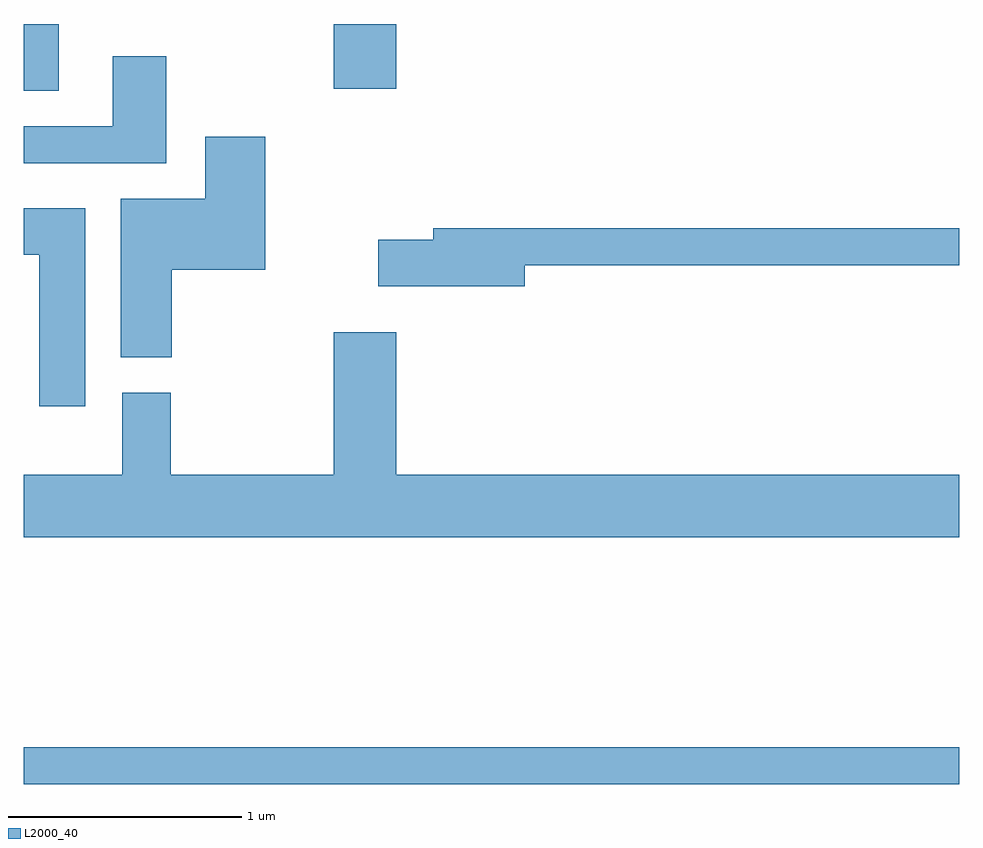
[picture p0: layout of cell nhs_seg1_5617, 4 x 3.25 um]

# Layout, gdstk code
import gdstk
lib = gdstk.Library(unit=1e-6, precision=1e-09)
def R(c, l, rs):  # rectangles x0, y0, x1, y1
    for r in rs: c.add(gdstk.rectangle(r[:2], r[2:], *l))
def P(c, l, *ps):  # polygons
    for p in ps: c.add(gdstk.Polygon(p, *l))
L2000_40 = (2000, 40)

nhs_seg1_5617 = lib.new_cell('nhs_seg1_5617')
R(nhs_seg1_5617, L2000_40, [(353.611,958.461,357.611,958.619), (353.611,961.426,353.759,961.712), (354.936,961.436,355.204,961.712)])
P(nhs_seg1_5617, L2000_40, [(354.219,961.574),(353.991,961.574),(353.991,961.274),(353.611,961.274),(353.611,961.116),(354.219,961.116)],
  [(354.244,960.661),(354.644,960.661),(354.644,961.229),(354.386,961.229),(354.386,960.964),(354.026,960.964),(354.026,960.286),(354.244,960.286)],
  [(353.874,960.924),(353.611,960.924),(353.611,960.726),(353.676,960.726),(353.676,960.076),(353.874,960.076)],
  [(355.754,960.681),(357.611,960.681),(357.611,960.839),(355.361,960.839),(355.361,960.789),(355.126,960.789),(355.126,960.591),(355.754,960.591)],
  [(357.611,959.784),(355.204,959.784),(355.204,960.394),(354.936,960.394),(354.936,959.784),(354.239,959.784),(354.239,960.134),(354.031,960.134),(354.031,959.784),(353.611,959.784),(353.611,959.516),(357.611,959.516)])

lib.write_gds('nhs_seg1_5617.gds')
